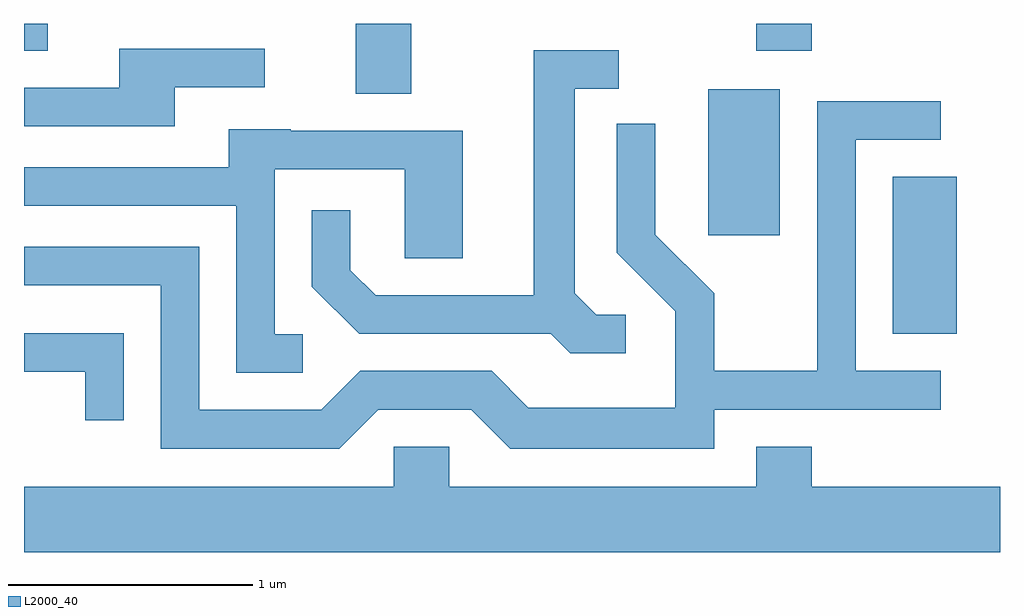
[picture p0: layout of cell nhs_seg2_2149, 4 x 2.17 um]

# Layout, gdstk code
import gdstk
lib = gdstk.Library(unit=1e-6, precision=1e-09)
def R(c, l, rs):  # rectangles x0, y0, x1, y1
    for r in rs: c.add(gdstk.rectangle(r[:2], r[2:], *l))
def P(c, l, *ps):  # polygons
    for p in ps: c.add(gdstk.Polygon(p, *l))
L2000_40 = (2000, 40)

nhs_seg2_2149 = lib.new_cell('nhs_seg2_2149')
R(nhs_seg2_2149, L2000_40, [(251.171,1062.531,251.434,1063.174), (250.416,1062.936,250.709,1063.534), (248.971,1063.516,249.199,1063.802), (247.611,1063.691,247.709,1063.802), (250.611,1063.691,250.839,1063.802)])
P(nhs_seg2_2149, L2000_40, [(248.229,1063.541),(248.598,1063.541),(248.598,1063.699),(248.001,1063.699),(248.001,1063.539),(247.611,1063.539),(247.611,1063.381),(248.229,1063.381)],
  [(250.078,1062.609),(249.957,1062.609),(249.869,1062.697),(249.869,1063.536),(250.048,1063.536),(250.048,1063.694),(249.701,1063.694),(249.701,1062.689),(249.052,1062.689),(248.949,1062.792),(248.949,1063.038),(248.791,1063.038),(248.791,1062.724),(248.984,1062.531),(249.769,1062.531),(249.849,1062.451),(250.078,1062.451)],
  [(249.062,1062.221),(249.444,1062.221),(249.604,1062.061),(250.439,1062.061),(250.439,1062.221),(251.368,1062.221),(251.368,1062.379),(251.019,1062.379),(251.019,1063.326),(251.368,1063.326),(251.368,1063.484),(250.861,1063.484),(250.861,1062.379),(250.439,1062.379),(250.439,1062.697),(250.199,1062.937),(250.199,1063.393),(250.041,1063.393),(250.041,1062.864),(250.281,1062.624),(250.281,1062.229),(249.677,1062.229),(249.527,1062.379),(248.989,1062.379),(248.829,1062.219),(248.329,1062.219),(248.329,1062.889),(247.611,1062.889),(247.611,1062.731),(248.171,1062.731),(248.171,1062.061),(248.902,1062.061)],
  [(248.753,1062.529),(248.639,1062.529),(248.639,1063.206),(249.171,1063.206),(249.171,1062.841),(249.409,1062.841),(249.409,1063.364),(248.705,1063.364),(248.705,1063.369),(248.451,1063.369),(248.451,1063.214),(247.611,1063.214),(247.611,1063.056),(248.481,1063.056),(248.481,1062.371),(248.753,1062.371)],
  [(248.019,1062.534),(247.611,1062.534),(247.611,1062.376),(247.861,1062.376),(247.861,1062.178),(248.019,1062.178)],
  [(251.611,1061.904),(250.839,1061.904),(250.839,1062.069),(250.611,1062.069),(250.611,1061.904),(249.354,1061.904),(249.354,1062.069),(249.126,1062.069),(249.126,1061.904),(247.611,1061.904),(247.611,1061.636),(251.611,1061.636)])

lib.write_gds('nhs_seg2_2149.gds')
